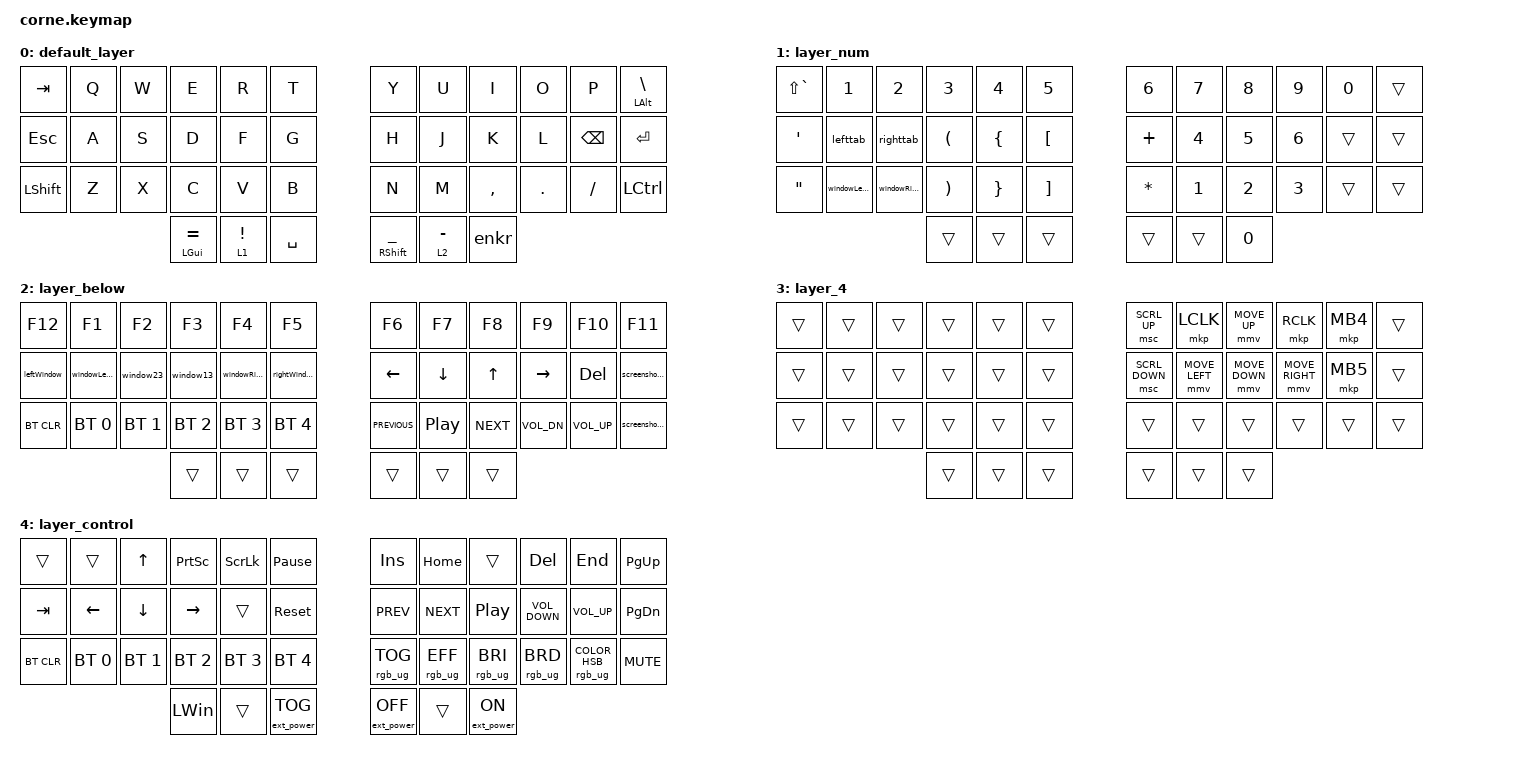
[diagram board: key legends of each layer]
/*
 * Copyright (c) 2020 The ZMK Contributors
 *
 * SPDX-License-Identifier: MIT
 */

#include <dt-bindings/led/led.h>
#include <behaviors.dtsi>
#include <dt-bindings/zmk/bt.h>
#include <dt-bindings/zmk/ext_power.h>
#include <dt-bindings/zmk/keys.h>
#include <dt-bindings/zmk/pointing.h>
#include <dt-bindings/zmk/rgb.h>

&led_strip { chain-length = <42>; };

/ {
    behaviors {
        tp: tap_preferred {
            compatible = "zmk,behavior-hold-tap";
            label = "TAP_PREFERRED";
            #binding-cells = <2>;
            tapping-term-ms = <150>;
            quick-tap-ms = <0>;
            flavor = "tap-preferred";
            bindings = <&kp>, <&kp>;
        };
    };

    chosen { zmk,underglow = &led_strip; };

    combos {
        compatible = "zmk,combos";

        colone {
            bindings = <&kp COLON>;
            key-positions = <33 32>;
        };

        backtic {
            bindings = <&kp GRAVE>;
            key-positions = <7 8>;
        };

        double_queto {
            bindings = <&kp DOUBLE_QUOTES>;
            key-positions = <19 20>;
        };

        apostrophe {
            bindings = <&kp SQT>;
            key-positions = <31 32>;
        };

        enter {
            bindings = <&kp ENTER>;
            key-positions = <21 22>;
        };

        tap {
            bindings = <&kp TAB>;
            key-positions = <12 13>;
        };

        devTool {
            bindings = <&dev_tool>;
            key-positions = <7 6>;
        };

        semiColone {
            bindings = <&kp SEMICOLON>;
            key-positions = <34 33>;
        };

        dollor {
            bindings = <&dollor>;
            key-positions = <16 28>;
        };

        leftWindow {
            bindings = <&leftWindow>;
            key-positions = <4 6>;
        };

        controllPannel {
            bindings = <&controlPannel>;
            key-positions = <5 6>;
        };

        rightWindow {
            bindings = <&rightWindow>;
            key-positions = <7 5>;
        };

        arrow {
            bindings = <&arrow>;
            key-positions = <40 33>;
        };

        console.log {
            bindings = <&console>;
            key-positions = <27 9>;
        };
    };

    macros {
        dev_tool: dev_tool {
            compatible = "zmk,behavior-macro";
            #binding-cells = <0>;
            bindings =
                <&macro_press>,
                <&kp LEFT_COMMAND &kp LEFT_ALT &kp J>,
                <&macro_release>,
                <&kp LEFT_COMMAND &kp LEFT_ALT &kp J>;

            label = "DEV_TOOL";
        };

        dollor: dollor {
            compatible = "zmk,behavior-macro";
            #binding-cells = <0>;
            bindings =
                <&macro_tap>,
                <&kp DOLLAR &kp LEFT_BRACE &kp RIGHT_BRACE &kp LEFT_ARROW>;

            label = "DOLLOR";
        };

        leftWindow: leftWindow {
            compatible = "zmk,behavior-macro";
            #binding-cells = <0>;
            bindings =
                <&macro_press>,
                <&kp LEFT_CONTROL &kp LEFT_ARROW>,
                <&macro_release>,
                <&kp LEFT_CONTROL &kp LEFT_ARROW>;

            label = "LEFTWINDOW";
        };

        rightWindow: rightWindow {
            compatible = "zmk,behavior-macro";
            #binding-cells = <0>;
            bindings =
                <&macro_press>,
                <&kp LEFT_CONTROL &kp RIGHT_ARROW>,
                <&macro_release>,
                <&kp LEFT_CONTROL &kp RIGHT_ARROW>;

            label = "RIGHTWINDOW";
        };

        controlPannel: controlPannel {
            compatible = "zmk,behavior-macro";
            #binding-cells = <0>;
            bindings =
                <&macro_press>,
                <&kp LEFT_CONTROL &kp UP_ARROW>,
                <&macro_release>,
                <&kp LEFT_CONTROL &kp UP_ARROW>;

            label = "CONTROLPANNEL";
        };

        windowLeftHalf: windowLeftHalf {
            compatible = "zmk,behavior-macro";
            #binding-cells = <0>;
            bindings =
                <&macro_press>,
                <&kp LEFT_ALT &kp LEFT_CONTROL>,
                <&macro_tap>,
                <&kp LEFT_ARROW>,
                <&macro_release>,
                <&kp LEFT_ALT &kp LEFT_CONTROL>;

            label = "WINDOWLEFTHALF";
        };

        windowRightHalf: windowRightHalf {
            compatible = "zmk,behavior-macro";
            #binding-cells = <0>;
            bindings =
                <&macro_press>,
                <&kp LEFT_ALT &kp LEFT_CONTROL>,
                <&macro_tap>,
                <&kp RIGHT>,
                <&macro_release>,
                <&kp LEFT_ALT &kp LEFT_CONTROL>;

            label = "WINDOWRIGHTHALF";
        };

        window13: window13 {
            compatible = "zmk,behavior-macro";
            #binding-cells = <0>;
            bindings =
                <&macro_press>,
                <&kp LEFT_ALT &kp LEFT_CONTROL>,
                <&macro_tap>,
                <&kp D>,
                <&macro_release>,
                <&kp LEFT_ALT &kp LEFT_CONTROL>;

            label = "WINDOW13";
        };

        window23: window23 {
            compatible = "zmk,behavior-macro";
            #binding-cells = <0>;
            bindings =
                <&macro_press>,
                <&kp LEFT_ALT &kp LEFT_CONTROL>,
                <&macro_tap>,
                <&kp E>,
                <&macro_release>,
                <&kp LEFT_ALT &kp LEFT_CONTROL>;

            label = "WINDOW23";
        };

        windowLeftMonitor: windowLeftMonitor {
            compatible = "zmk,behavior-macro";
            #binding-cells = <0>;
            bindings =
                <&macro_press>,
                <&kp LEFT_ALT &kp LEFT_CONTROL &kp LEFT_GUI>,
                <&macro_tap>,
                <&kp LEFT_ARROW>,
                <&macro_release>,
                <&kp LEFT_ALT &kp LEFT_CONTROL &kp LEFT_GUI>;

            label = "WINDOWLEFTMONITOR";
        };

        windowRightMonitor: windowRightMonitor {
            compatible = "zmk,behavior-macro";
            #binding-cells = <0>;
            bindings =
                <&macro_press>,
                <&kp LEFT_ALT &kp LEFT_CONTROL &kp LEFT_GUI>,
                <&macro_tap>,
                <&kp RIGHT_ARROW>,
                <&macro_release>,
                <&kp LEFT_ALT &kp LEFT_CONTROL &kp LEFT_GUI>;

            label = "WINDOWRIGHTMONITOR";
        };

        arrow: arrow {
            compatible = "zmk,behavior-macro";
            #binding-cells = <0>;
            bindings = <&macro_tap>, <&kp EQUAL &kp GREATER_THAN>;

            label = "ARROW";
        };

        console: console {
            compatible = "zmk,behavior-macro";
            #binding-cells = <0>;
            bindings =
                <&macro_tap>,
                <&kp C &kp O &kp N &kp S &kp O &kp L &kp E &kp DOT &kp L &kp O &kp G &kp LEFT_PARENTHESIS &kp RIGHT_PARENTHESIS &kp LEFT_ARROW>;

            label = "CONSOLE";
        };

        screenshotClipBoard: screenshotClipBoard {
            compatible = "zmk,behavior-macro";
            #binding-cells = <0>;
            bindings =
                <&macro_press>,
                <&kp LEFT_GUI &kp LEFT_SHIFT &kp LEFT_CONTROL>,
                <&macro_tap>,
                <&kp NUMBER_4>,
                <&macro_release>,
                <&kp LEFT_GUI &kp LEFT_SHIFT &kp LCTRL>;

            label = "SCREENSHOTCLIPBOARD";
        };

        screenshotSave: screenshotSave {
            compatible = "zmk,behavior-macro";
            #binding-cells = <0>;
            bindings =
                <&macro_press>,
                <&kp LEFT_GUI &kp LEFT_SHIFT>,
                <&macro_tap>,
                <&kp NUMBER_4>,
                <&macro_release>,
                <&kp LEFT_GUI &kp LEFT_SHIFT>;

            label = "SCREENSHOTSAVE";
        };

        emoji: emoji {
            compatible = "zmk,behavior-macro";
            #binding-cells = <0>;
            bindings =
                <&macro_press>,
                <&kp LEFT_GUI &kp LEFT_CONTROL &kp SPACE>,
                <&macro_release>,
                <&kp LEFT_GUI &kp LEFT_CONTROL &kp SPACE>;

            label = "EMOJI";
        };

        righthalf: righthalf {
            compatible = "zmk,behavior-macro";
            #binding-cells = <0>;
            bindings =
                <&macro_press>,
                <&kp LEFT_GUI &kp LEFT_CONTROL>,
                <&macro_tap>,
                <&kp RIGHT>,
                <&macro_release>,
                <&kp LEFT_GUI &kp LEFT_CONTROL>;

            label = "RIGHTHALF";
        };

        lefttab: lefttab {
            compatible = "zmk,behavior-macro";
            #binding-cells = <0>;
            bindings =
                <&macro_press>,
                <&kp LEFT_GUI &kp LEFT_ALT>,
                <&macro_tap>,
                <&kp LEFT>,
                <&macro_release>,
                <&kp LEFT_GUI &kp LALT>;

            label = "LEFTTAB";
        };

        righttab: righttab {
            compatible = "zmk,behavior-macro";
            #binding-cells = <0>;
            bindings =
                <&macro_press>,
                <&kp LEFT_GUI &kp LEFT_ALT>,
                <&macro_tap>,
                <&kp RIGHT>,
                <&macro_release>,
                <&kp LEFT_GUI &kp LALT>;

            label = "RIGHTTAB";
        };

        enkr: enkr {
            compatible = "zmk,behavior-macro";
            #binding-cells = <0>;
            bindings =
                <&macro_press>,
                <&kp LEFT_ALT &kp SPACE>,
                <&macro_release>,
                <&kp LEFT_ALT &kp SPACE>;

            label = "ENKR";
        };
    };

    keymap {
        compatible = "zmk,keymap";

        default_layer {
            // -----------------------------------------------------------------------------------------
            // | TAB  |  Q  |  W  |  E  |  R  |    T    |   |  Y  |  U   |  I  |  O  |  P  | ESC |
            // | CTRL |  A  |  S  |  D  |  F  |    G    |   |  H  |  J   |  K  |  L  |  ;  |  '   |
            // | SHFT |  Z  |  X  |  C  |  V  |    B    |   |  N  |  M   |  ,  |  .  |  /  | SHFT |
            //                    | GUI | RSE | ALT/ENT |   | BKSP | HYPER/SPC  | LWR |

            bindings = <
&kp TAB         &kp Q  &kp W  &kp E               &kp R              &kp T        &kp Y                       &kp U        &kp I      &kp O    &kp P          &mt LEFT_ALT BACKSLASH
&kp ESCAPE      &kp A  &kp S  &kp D               &kp F              &kp G        &kp H                       &kp J        &kp K      &kp L    &kp BACKSPACE  &kp ENTER
&kp LEFT_SHIFT  &kp Z  &kp X  &kp C               &kp V              &kp B        &kp N                       &kp M        &kp COMMA  &kp DOT  &kp SLASH      &kp LEFT_CONTROL
                              &mt LEFT_GUI EQUAL  &lt 1 EXCLAMATION  &kp SPACE    &mt RIGHT_SHIFT UNDERSCORE  &lt 2 MINUS  &enkr
            >;
        };

        layer_num {
            bindings = <
&kp LS(GRAVE)      &kp NUMBER_1     &kp NUMBER_2      &kp NUMBER_3           &kp NUMBER_4     &kp NUMBER_5         &kp NUMBER_6  &kp N7        &kp N8        &kp N9        &kp NUMBER_0  &trans
&kp SINGLE_QUOTE   &lefttab         &righttab         &kp LEFT_PARENTHESIS   &kp LEFT_BRACE   &kp LEFT_BRACKET     &kp PLUS      &kp NUMBER_4  &kp N5        &kp NUMBER_6  &trans        &trans
&kp DOUBLE_QUOTES  &windowLeftHalf  &windowRightHalf  &kp RIGHT_PARENTHESIS  &kp RIGHT_BRACE  &kp RIGHT_BRACKET    &kp STAR      &kp NUMBER_1  &kp NUMBER_2  &kp NUMBER_3  &trans        &trans
                                                      &trans                 &trans           &trans               &trans        &trans        &kp N0
            >;
        };

        layer_below {
            // -----------------------------------------------------------------------------------------
            // |      |  !  |  @  |  #  |  $  |    %     |   |  ^  |  &  |  *  |  (  |  )  |   \   |
            // |      |  1  |  2  |  3  |  4  |    5     |   |  -  |  =  |  `  |  [  |  ]  |  "|"  |
            // | SHFT |  6  |  7  |  8  |  9  |    0     |   |  _  |  +  |  ~  |  {  |  }  | RSHFT |
            //                     | GUI |     | ALT/ENT |   | BKSP | HYPER/SPACE |    |

            bindings = <
&kp F12      &kp F1           &kp F2        &kp F3        &kp F4            &kp F5          &kp F6          &kp F7            &kp F8        &kp F9           &kp F10          &kp F11
&leftWindow  &windowLeftHalf  &window23     &window13     &windowRightHalf  &rightWindow    &kp LEFT_ARROW  &kp DOWN_ARROW    &kp UP_ARROW  &kp RIGHT_ARROW  &kp DEL          &screenshotSave
&bt BT_CLR   &bt BT_SEL 0     &bt BT_SEL 1  &bt BT_SEL 2  &bt BT_SEL 3      &bt BT_SEL 4    &kp C_PREVIOUS  &kp C_PLAY_PAUSE  &kp C_NEXT    &kp C_VOL_DN     &kp C_VOLUME_UP  &screenshotClipBoard
                                            &trans        &trans            &trans          &trans          &trans            &trans
            >;
        };

        layer_4 {
            bindings = <
&trans  &trans  &trans  &trans  &trans  &trans    &msc SCRL_UP    &mkp LCLK       &mmv MOVE_UP    &mkp RCLK        &mkp MB4  &trans
&trans  &trans  &trans  &trans  &trans  &trans    &msc SCRL_DOWN  &mmv MOVE_LEFT  &mmv MOVE_DOWN  &mmv MOVE_RIGHT  &mkp MB5  &trans
&trans  &trans  &trans  &trans  &trans  &trans    &trans          &trans          &trans          &trans           &trans    &trans
                        &trans  &trans  &trans    &trans          &trans          &trans
            >;
        };

        layer_control {
            // -----------------------------------------------------------------------------------------
            // |  |  F1  |  F2  |  F3  |  F4  |  F5 |            |  F6  |  F7     |  F8     |  F9        |  F10     |     |
            // |  | Prev | Next | Vol - | Vol + | Play/Pause |   |      | LFT     | DWN     |  UP        |  RGT     |     |  HOME   |
            // |  BTCLR  | BT1 | BT2 | BT3 | BT4 | BT5 |   |            | RGB_TOG | RGB_EFF |  RGB_BRI   |  RGB_BRD |     |   END  |
            //                    |     |     |    |                  |     |     |     |

            bindings = <
&trans      &trans        &kp UP        &kp PRINTSCREEN  &kp SCROLLLOCK  &kp PAUSE_BREAK      &kp INS            &kp HOME         &trans            &kp DELETE         &kp END                           &kp PAGE_UP
&kp TAB     &kp LEFT      &kp DOWN      &kp RIGHT        &trans          &sys_reset           &kp C_PREV         &kp C_NEXT       &kp C_PP          &kp C_VOLUME_DOWN  &kp C_VOLUME_UP                   &kp PAGE_DOWN
&bt BT_CLR  &bt BT_SEL 0  &bt BT_SEL 1  &bt BT_SEL 2     &bt BT_SEL 3    &bt BT_SEL 4         &rgb_ug RGB_TOG    &rgb_ug RGB_EFF  &rgb_ug RGB_BRI   &rgb_ug RGB_BRD    &rgb_ug RGB_COLOR_HSB(241,88,46)  &kp C_MUTE
                                        &kp LWIN         &trans          &ext_power EP_TOG    &ext_power EP_OFF  &trans           &ext_power EP_ON
            >;
        };
    };
};
